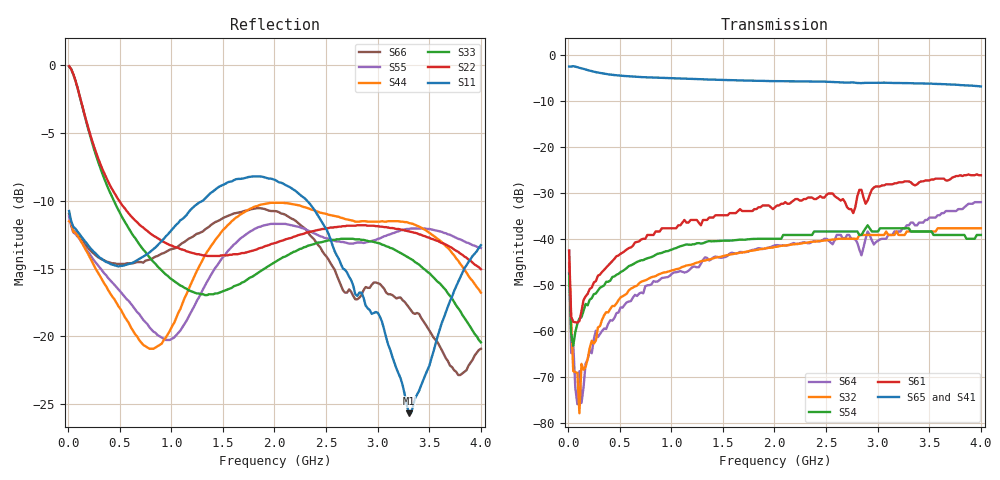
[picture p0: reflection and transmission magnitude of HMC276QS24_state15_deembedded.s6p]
! Hittite Microwave Corporation
! 20 Alpha Road
! Chelmsford, MA 01824
! Tel: 978-250-3343
! Fax: 978-250-3373
! Device: HMC276QS24, 0.7-3.0 GHz, GaAS MMIC 4x2 Switch Matrix in 24-lead QSOP package
! Misc: Data was de-embedded to package pins.
!  Port 1 = OP1
!  Port 2 = VL
!  Port 3 = VH
!  Port 4 = HH
!  Port 5 = HL
!  Port 6 = OP2
!  Vdd = +5 V
!  Vctl = 0 V[Logic 0] / +5 V[Logic 1]
!  State 15,  HH to OP1,  HL to OP2
!  Control Lines (Logic)
!  HV 1 = 1, Tone 1 = 1
!  HV 2 = 1, Tone 2 = 0
!  Data reformated to new Touchstone file format - Wed Jan 10 16:00:54 2007
# MHz S DB R 50
! 6 Port Network Data
! freq  dbS11  angS11  dbS12  angS12  dbS13  angS13  dbS14  angS14
!  dbS15  angS15  dbS16  angS16
!  dbS21  angS21  dbS22  angS22
!  dbS23  angS23  dbS24  angS24  dbS25  angS25  dbS26  angS26
!  dbS31  angS31  dbS32  angS32  dbS33  angS33  dbS34  angS34
!  dbS35  angS35  dbS36  angS36
!  dbS41  angS41  dbS42  angS42
!  dbS43  angS43  dbS44  angS44  dbS45  angS45  dbS46  angS46
!  dbS51  angS51  dbS52  angS52  dbS53  angS53  dbS54  angS54
!  dbS55  angS55  dbS56  angS56
!  dbS61  angS61  dbS62  angS62
!  dbS63  angS63  dbS64  angS64  dbS65  angS65  dbS66  angS66
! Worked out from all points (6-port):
!   201 points, 10 MHz to 4 GHz, reference 50 ohm
!   strongest paths, dB at 10 MHz, 1.008 GHz, 2.005 GHz, 3.002 GHz, 4 GHz:
!     S65: -2.6, -5.1, -5.8, -6.1, -6.9
!     S41: -2.8, -5.3, -6.1, -6.2, -6.9
!     S61: -42.6, -37.7, -33.2, -28.6, -26.2
!     S54: -47.4, -42.3, -40.0, -38.4, -39.2
!     S32: -45.3, -46.9, -41.8, -39.2, -37.7
!     S64: -42.5, -47.6, -41.4, -40.4, -32.0
!   lowest |S11| = -25.7 dB at 3.302 GHz (marker M1), VSWR 1.11, Z = 54.3 + j3.36 ohm
!   |S11| at or under -10 dB: start of sweep to 1.302 GHz; 2.317 GHz to end of sweep
